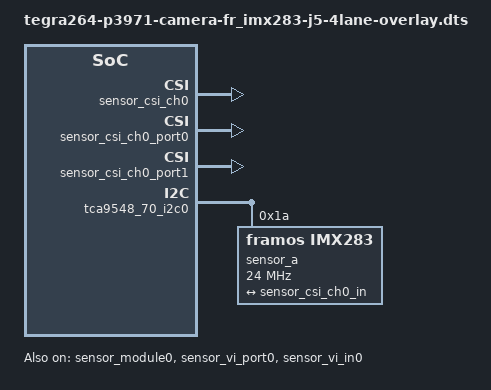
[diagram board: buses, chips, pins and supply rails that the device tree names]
// SPDX-License-Identifier: GPL-2.0
/*
 * Copyright (c) 2025 Framos. All rights reserved.
 *
 * tegra264-p3971-camera-fr_imx283-j5-4lane-overlay.dts
 */

/dts-v1/;
/plugin/;

#include <dt-bindings/clock/tegra264-clock.h>
#include <dt-bindings/gpio/tegra264-gpio.h>
#include <dt-bindings/jetson-compatible.h>

/ {
	overlay-name = "Framos IMX283-J5-4Lane";
	jetson-header-name = "Jetson AGX CSI Connector";
	compatible = JETSON_COMPATIBLE;

	fragment@0 {
		target = <&sensor_module0>;
		__overlay__ {
			status = "okay";
			badge = "imx283_bottomleft_framos";
			drivernode0 {
				status = "okay";
				/* Declare PCL support driver (classically known as guid) */
				devname = "imx283 17-001a";
				/* Declare the device-tree hierarchy to driver instance */
				sysfs-device-tree = "/sys/firmware/devicetree/base/bus@0/i2c@810c6d0000/tca9548@70/i2c@0/imx283_a@1a";
			};
		};
	};

	fragment@1 {
		target = <&sensor_vi_port0>;
		__overlay__ {
			status = "okay";
		};
	};

	fragment@2 {
		target = <&sensor_vi_in0>;
		__overlay__ {
			status = "okay";
			bus-width = <4>;
		};
	};

	fragment@3 {
		target = <&sensor_csi_ch0>;
		__overlay__ {
			status = "okay";
			ports {
				status = "okay";
			};
		};
	};

	fragment@4 {
		target = <&sensor_csi_ch0_port0>;
		__overlay__ {
			status = "okay";
		};
	};

	fragment@5 {
		target = <&sensor_csi_ch0_in>;
		__overlay__ {
			status = "okay";
			bus-width = <4>;
			remote-endpoint = <&sensor_out_a>;
		};
	};

	fragment@6 {
		target = <&sensor_csi_ch0_port1>;
		__overlay__ {
			status = "okay";
		};
	};

	fragment@7 {
		target = <&sensor_csi_ch0_out>;
		__overlay__ {
			status = "okay";
		};
	};

	fragment@8 {
		target = <&tca9548_70_i2c0>;
		__overlay__ {
			sensor_a: imx283_a@1a {
				compatible = "framos,imx283";
				reg = <0x1a>;

				/* Define any required hw resources needed by driver */
				/* ie. clocks, io pins, power sources */
				clocks = <&bpmp TEGRA264_CLK_EXTPERIPH1>, <&bpmp TEGRA264_CLK_PLLP_OUT0>;
				clock-names = "extperiph1", "pllp_grtba";
				mclk = "extperiph1";
				clock-frequency = <24000000>;

				devnode = "video0";

				physical_w = "20.00";
				physical_h = "16.80";

				sensor_model ="imx283";

				/* Defines number of frames to be dropped by driver internally after applying */
				/* sensor crop settings. Some sensors send corrupt frames after applying */
				/* crop co-ordinates */
				post_crop_frame_drop = "0";

				/* Convert Gain to unit of dB (decibel) befor passing to kernel driver */
				use_decibel_gain = "true";

				/* if true, delay gain setting by one frame to be in sync with exposure */
				delayed_gain = "false";

				/* enable CID_SENSOR_MODE_ID for sensor modes selection */
				use_sensor_mode_id = "false";

				mode0 {
					mclk_khz = "24000";
					num_lanes = "4";
					tegra_sinterface = "serial_a";
					vc_id = "0";
					phy_mode = "DPHY";
					discontinuous_clk = "no";
					dpcm_enable = "false";
					cil_settletime = "0";
					active_w = "5496";
					active_h = "3694";
		    
					dynamic_pixel_bit_depth = "10";
					csi_pixel_bit_depth = "10";
					mode_type = "bayer";
					pixel_phase = "rggb";
		    
					readout_orientation = "0";
					line_length = "8900";
					inherent_gain = "1";
					pix_clk_hz = "576000000";
					serdes_pix_clk_hz = "12000000000";/* GMSL predefine */
		    
					gain_factor = "10";
					min_gain_val = "0"; /* 0dB */
					max_gain_val = "270"; /* 27dB */
					step_gain_val = "1"; /* 0.1 */
					default_gain = "0";
					min_hdr_ratio = "1";
					max_hdr_ratio = "64";
					framerate_factor = "1000000";
					min_framerate = "1500000"; /* 1.5 */
					max_framerate = "25000000"; /* 25 */
					step_framerate = "1";
					default_framerate= "25000000";
					exposure_factor = "1000000";
					min_exp_time = "44";  /* us */
					max_exp_time = "660000"; /* us */
					step_exp_time = "1";
					default_exp_time = "10000";/* us */
					embedded_metadata_height = "1";
				};
				mode1 {
					mclk_khz = "24000";
					num_lanes = "4";
					tegra_sinterface = "serial_a";
					vc_id = "0";
					phy_mode = "DPHY";
					discontinuous_clk = "no";
					dpcm_enable = "false";
					cil_settletime = "0";
					active_w = "5496";
					active_h = "3112";
		    
					dynamic_pixel_bit_depth = "10";
					csi_pixel_bit_depth = "10";
					mode_type = "bayer";
					pixel_phase = "rggb";
		    
					readout_orientation = "0";
					line_length = "9270";
					inherent_gain = "1";
					pix_clk_hz = "576000000";
					serdes_pix_clk_hz = "12000000000";/* GMSL predefine */
		    
					gain_factor = "10";
					min_gain_val = "0"; /* 0dB */
					max_gain_val = "270"; /* 27dB */
					step_gain_val = "1"; /* 0.1 */
					default_gain = "0";
					min_hdr_ratio = "1";
					max_hdr_ratio = "64";
					framerate_factor = "1000000";
					min_framerate = "1500000"; /* 1.5 */
					max_framerate = "30000000"; /* 30 */
					step_framerate = "1";
					default_framerate= "30000000";
					exposure_factor = "1000000";
					min_exp_time = "44";  /* us */
					max_exp_time = "660000"; /* us */
					step_exp_time = "1";
					default_exp_time = "10000";/* us */
					embedded_metadata_height = "1";
				};
				mode2 {
					mclk_khz = "24000";
					num_lanes = "4";
					tegra_sinterface = "serial_a";
					vc_id = "0";
					phy_mode = "DPHY";
					discontinuous_clk = "no";
					dpcm_enable = "false";
					cil_settletime = "0";
					active_w = "3840";
					active_h = "2160";
		    
					dynamic_pixel_bit_depth = "10";
					csi_pixel_bit_depth = "10";
					mode_type = "bayer";
					pixel_phase = "rggb";
		    
					readout_orientation = "0";
					line_length = "6750";
					inherent_gain = "1";
					pix_clk_hz = "576000000";
					serdes_pix_clk_hz = "12000000000";/* GMSL predefine */
		    
					gain_factor = "10";
					min_gain_val = "0"; /* 0dB */
					max_gain_val = "270"; /* 27dB */
					step_gain_val = "1"; /* 0.1 */
					default_gain = "0";
					min_hdr_ratio = "1";
					max_hdr_ratio = "64";
					framerate_factor = "1000000";
					min_framerate = "1500000"; /* 1.5 */
					max_framerate = "43000000"; /* 43 */
					step_framerate = "1";
					default_framerate= "30000000";
					exposure_factor = "1000000";
					min_exp_time = "33";  /* us */
					max_exp_time = "660000"; /* us */
					step_exp_time = "1";
					default_exp_time = "10000";/* us */
					embedded_metadata_height = "1";
				};
				mode3 {
					mclk_khz = "24000";
					num_lanes = "4";
					tegra_sinterface = "serial_a";
					vc_id = "0";
					phy_mode = "DPHY";
					discontinuous_clk = "no";
					dpcm_enable = "false";
					cil_settletime = "0";
					active_w = "1920";
					active_h = "1080";
		    
					dynamic_pixel_bit_depth = "12";
					csi_pixel_bit_depth = "12";
					mode_type = "bayer";
					pixel_phase = "rggb";
		    
					readout_orientation = "0";
					line_length = "4500";
					inherent_gain = "1";
					pix_clk_hz = "480000000";
					serdes_pix_clk_hz = "12000000000";/* GMSL predefine */
		    
					gain_factor = "10";
					min_gain_val = "0"; /* 0dB */
					max_gain_val = "270"; /* 27dB */
					step_gain_val = "1"; /* 0.1 */
					default_gain = "0";
					min_hdr_ratio = "1";
					max_hdr_ratio = "64";
					framerate_factor = "1000000";
					min_framerate = "1500000"; /* 1.5 */
					max_framerate = "50000000"; /* 60 */
					step_framerate = "1";
					default_framerate= "40000000";
					exposure_factor = "1000000";
					min_exp_time = "22";  /* us */
					max_exp_time = "660000"; /* us */
					step_exp_time = "1";
					default_exp_time = "10000";/* us */
					embedded_metadata_height = "1";
				};
				mode4 {
					mclk_khz = "24000";
					num_lanes = "4";
					tegra_sinterface = "serial_a";
					vc_id = "0";
					phy_mode = "DPHY";
					discontinuous_clk = "no";
					dpcm_enable = "false";
					cil_settletime = "0";
					active_w = "5496";
					active_h = "3694";
		    
					dynamic_pixel_bit_depth = "12";
					csi_pixel_bit_depth = "12";
					mode_type = "bayer";
					pixel_phase = "rggb";
		    
					readout_orientation = "0";
					line_length = "11250";
					inherent_gain = "1";
					pix_clk_hz = "480000000";
					serdes_pix_clk_hz = "12000000000";/* GMSL predefine */
		    
					gain_factor = "10";
					min_gain_val = "0"; /* 0dB */
					max_gain_val = "270"; /* 27dB */
					step_gain_val = "1"; /* 0.1 */
					default_gain = "0";
					min_hdr_ratio = "1";
					max_hdr_ratio = "64";
					framerate_factor = "1000000";
					min_framerate = "1500000"; /* 1.5 */
					max_framerate = "21000000"; /* 21 */
					step_framerate = "1";
					default_framerate= "21000000";
					exposure_factor = "1000000";
					min_exp_time = "53";  /* us */
					max_exp_time = "660000"; /* us */
					step_exp_time = "1";
					default_exp_time = "10000";/* us */
					embedded_metadata_height = "1";
				};
				ports {
					#address-cells = <1>;
					#size-cells = <0>;
					port@0 {
						reg = <0>;
						sensor_out_a: endpoint {
							vc-id = <0>;
							port-index = <0>;
							bus-width = <4>;
							remote-endpoint = <&sensor_csi_ch0_in>;
						};
					};
				};
			};
		};
	};

};
